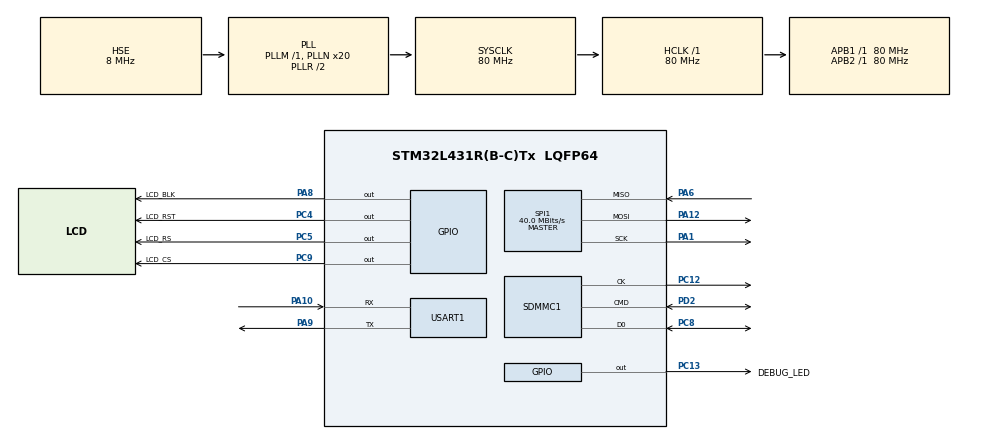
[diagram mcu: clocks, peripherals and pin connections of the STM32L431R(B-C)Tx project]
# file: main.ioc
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Dma.Request0=SPI1_TX
Dma.SPI1_TX.0.Direction=DMA_MEMORY_TO_PERIPH
Dma.SPI1_TX.0.Instance=DMA1_Channel3
Dma.SPI1_TX.0.MemDataAlignment=DMA_MDATAALIGN_BYTE
Dma.SPI1_TX.0.MemInc=DMA_MINC_ENABLE
Dma.SPI1_TX.0.Mode=DMA_CIRCULAR
Dma.SPI1_TX.0.PeriphDataAlignment=DMA_PDATAALIGN_BYTE
Dma.SPI1_TX.0.PeriphInc=DMA_PINC_DISABLE
Dma.SPI1_TX.0.Priority=DMA_PRIORITY_LOW
FATFS._CODE_PAGE=936
FATFS._USE_LFN=2
Mcu.Family=STM32L4
Mcu.Name=STM32L431R(B-C)Tx
Mcu.Package=LQFP64
NVIC.DMA1_Channel3_IRQn=true\:0\:0\:false\:false\:true\:false\:true
NVIC.PriorityGroup=NVIC_PRIORITYGROUP_4
NVIC.SDMMC1_IRQn=true\:0\:0\:false\:false\:true\:true\:true
PA1.Mode=Full_Duplex_Master
PA1.Signal=SPI1_SCK
PA10.Mode=Asynchronous
PA10.Signal=USART1_RX
PA12.Mode=Full_Duplex_Master
PA12.Signal=SPI1_MOSI
PA13\ (JTMS-SWDIO).Mode=Serial_Wire
PA13\ (JTMS-SWDIO).Signal=SYS_JTMS-SWDIO
PA14\ (JTCK-SWCLK).Mode=Serial_Wire
PA14\ (JTCK-SWCLK).Signal=SYS_JTCK-SWCLK
PA6.Mode=Full_Duplex_Master
PA6.Signal=SPI1_MISO
PA8.GPIO_Label=LCD_BLK
PA8.GPIO_Speed=GPIO_SPEED_FREQ_VERY_HIGH
PA8.Signal=GPIO_Output
PA9.Mode=Asynchronous
PA9.Signal=USART1_TX
PC12.Mode=SD_1_bit
PC12.Signal=SDMMC1_CK
PC13.GPIO_Label=DEBUG_LED
PC13.Signal=GPIO_Output
PC4.GPIO_Label=LCD_RST
PC4.GPIO_Speed=GPIO_SPEED_FREQ_VERY_HIGH
PC4.Signal=GPIO_Output
PC5.GPIO_Label=LCD_RS
PC5.GPIO_Speed=GPIO_SPEED_FREQ_VERY_HIGH
PC5.Signal=GPIO_Output
PC8.Mode=SD_1_bit
PC8.Signal=SDMMC1_D0
PC9.GPIO_Label=LCD_CS
PC9.GPIO_Speed=GPIO_SPEED_FREQ_VERY_HIGH
PC9.Signal=GPIO_Output
PD2.Mode=SD_1_bit
PD2.Signal=SDMMC1_CMD
PH0-OSC_IN\ (PH0).Mode=HSE-External-Oscillator
PH0-OSC_IN\ (PH0).Signal=RCC_OSC_IN
PH1-OSC_OUT\ (PH1).Mode=HSE-External-Oscillator
PH1-OSC_OUT\ (PH1).Signal=RCC_OSC_OUT
ProjectManager.HeapSize=0x1000
ProjectManager.StackSize=0x1200
ProjectManager.TargetToolchain=MDK-ARM V5
RCC.ADCFreq_Value=32000000
RCC.AHBFreq_Value=80000000
RCC.APB1Freq_Value=80000000
RCC.APB1TimFreq_Value=80000000
RCC.APB2Freq_Value=80000000
RCC.APB2TimFreq_Value=80000000
RCC.CortexFreq_Value=80000000
RCC.HCLKFreq_Value=80000000
RCC.HSE_VALUE=8000000
RCC.HSI48_VALUE=48000000
RCC.HSI_VALUE=16000000
RCC.LSE_VALUE=32768
RCC.MSI_VALUE=4000000
RCC.PLLN=20
RCC.PLLSourceVirtual=RCC_PLLSOURCE_HSE
RCC.SYSCLKFreq_VALUE=80000000
RCC.SYSCLKSource=RCC_SYSCLKSOURCE_PLLCLK
RCC.VCOOutputFreq_Value=160000000
SDMMC1.ClockDiv=4
SPI1.CalculateBaudRate=40.0 MBits/s
SPI1.DataSize=SPI_DATASIZE_8BIT
SPI1.Direction=SPI_DIRECTION_2LINES
SPI1.Mode=SPI_MODE_MASTER
SPI1.VirtualType=VM_MASTER
USART1.VirtualMode-Asynchronous=VM_ASYNC
VP_FATFS_VS_SDIO.Mode=SDIO
board=custom

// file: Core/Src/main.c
/* USER CODE BEGIN Header */
/**
  ******************************************************************************
  * @file           : main.c
  * @brief          : Main program body
  ******************************************************************************
  * @attention
  *
  * <h2><center>&copy; Copyright (c) 2021 STMicroelectronics.
  * All rights reserved.</center></h2>
  *
  * This software component is licensed by ST under BSD 3-Clause license,
  * the "License"; You may not use this file except in compliance with the
  * License. You may obtain a copy of the License at:
  *                        opensource.org/licenses/BSD-3-Clause
  *
  ******************************************************************************
  */
/* USER CODE END Header */
#include "main.h"
#include "dma.h"
#include "fatfs.h"
#include "sdmmc.h"
#include "spi.h"
#include "usart.h"
#include "gpio.h"

/* USER CODE BEGIN Includes */
#include "lcd_st7735.h"
/* USER CODE END Includes */

void SystemClock_Config(void);

/* USER CODE BEGIN 0 */
/*挂载SD卡*/
int Mount_SD(void)
{
    /*挂载SD卡*/
    retSD = f_mount(&SDFatFS, SDPath, 1);

    if(FR_OK != retSD)
        return -1 ;

    return 0 ;
}

/*一张RGB565图片占用的缓存大小*/
#define PIC_SIZE 32768
/*在LCD的X坐标*/
#define DISPLAY_START_X 0
/*在LCD的Y坐标*/
#define DISPLAY_START_Y 0
/*LCD宽度分辨率*/
#define OLED_WIDTH   128
/*LCD高度分辨率*/
#define OLED_HEIGHT  128
/*用于显示的缓存区*/
uint8_t framebuffer[PIC_SIZE] = {1};
int sd_show_picture_bin(const char *path)
{
    UINT br;
    FIL fil ;
    int offset = 0 ;
    int file_size ;
    FRESULT res ;
    /*1.打开传进来的Fatfs文件路径: path*/
    res = f_open(&fil, path, FA_READ);

    if(FR_OK != res)
        return -1;

    /*2.计算这个文件的大小*/
    file_size = f_size(&fil);
    /*3.初始化偏移变量为0*/
    offset = 0 ;

    /*4.计算bin文件里一共包含多少张图片，然后不断的给LCD进行显示*/
    for(int i = 0 ; i < file_size / PIC_SIZE ; i++)
    {
        /*5.读取一张图片,一张图片的大小是PIC_SIZE，
        		将读取出来的图片存放到缓存区framebuffer数组里*/
        res = f_read(&fil, framebuffer, PIC_SIZE, &br);

        if(FR_OK != res)
            return -2;

        /*6.将整个数组赋值给显示接口，显示图片*/
        ST7735_DrawImage(DISPLAY_START_X, DISPLAY_START_Y, OLED_WIDTH, OLED_HEIGHT, (uint16_t *)framebuffer);
        /*7.将偏移往后加PIC_SIZE，就到了下一张图片*/
        offset += PIC_SIZE;
        res = f_lseek(&fil, offset);

        if(FR_OK != res)
            return -3;
    }

    /*8.关闭文件描述符*/
    res = f_close(&fil);

    if(FR_OK != res)
        return -4;

    return 0 ;
}
/* USER CODE END 0 */

int main(void)
{
    /* USER CODE BEGIN 1 */
    int ret = -1 ;
    /* USER CODE END 1 */

    /* MCU Configuration--------------------------------------------------------*/

    /* Reset of all peripherals, Initializes the Flash interface and the Systick. */
    HAL_Init();

    /* Configure the system clock */
    SystemClock_Config();

    /* Initialize all configured peripherals */
    MX_GPIO_Init();
    MX_DMA_Init();
    MX_SPI1_Init();
    MX_USART1_UART_Init();
    MX_SDMMC1_SD_Init();
    MX_FATFS_Init();
    /* USER CODE BEGIN 2 */
    printf("**********Init LCD**********\r\n");
    LCD_SCAN_DIR Lcd_ScanDir = SCAN_DIR_DFT;//SCAN_DIR_DFT = D2U_L2R
    LCD_Init( Lcd_ScanDir );
    printf("LCD Show \r\n");
    /*挂载SD卡*/
    ret = Mount_SD();

    if(ret != 0)
    {
        printf("SD Card mount ERROR\r\n");
        return -1 ;
    }

    printf("SD卡挂载成功!\n");
    LCD_BLK(1);
    /* USER CODE END 2 */

    /* Infinite loop */
    while (1)
    {

        /* USER CODE BEGIN 3 */
        sd_show_picture_bin("0:/boy.bin");
    }

    /* USER CODE END 3 */
}

void SystemClock_Config(void)
{
    RCC_OscInitTypeDef RCC_OscInitStruct = {0};
    RCC_ClkInitTypeDef RCC_ClkInitStruct = {0};
    RCC_PeriphCLKInitTypeDef PeriphClkInit = {0};

    /** Initializes the RCC Oscillators according to the specified parameters
    * in the RCC_OscInitTypeDef structure.
    */
    RCC_OscInitStruct.OscillatorType = RCC_OSCILLATORTYPE_HSE;
    RCC_OscInitStruct.HSEState = RCC_HSE_ON;
    RCC_OscInitStruct.PLL.PLLState = RCC_PLL_ON;
    RCC_OscInitStruct.PLL.PLLSource = RCC_PLLSOURCE_HSE;
    RCC_OscInitStruct.PLL.PLLM = 1;
    RCC_OscInitStruct.PLL.PLLN = 20;
    RCC_OscInitStruct.PLL.PLLP = RCC_PLLP_DIV7;
    RCC_OscInitStruct.PLL.PLLQ = RCC_PLLQ_DIV2;
    RCC_OscInitStruct.PLL.PLLR = RCC_PLLR_DIV2;

    if (HAL_RCC_OscConfig(&RCC_OscInitStruct) != HAL_OK)
    {
        Error_Handler();
    }

    /** Initializes the CPU, AHB and APB buses clocks
    */
    RCC_ClkInitStruct.ClockType = RCC_CLOCKTYPE_HCLK | RCC_CLOCKTYPE_SYSCLK
                                  | RCC_CLOCKTYPE_PCLK1 | RCC_CLOCKTYPE_PCLK2;
    RCC_ClkInitStruct.SYSCLKSource = RCC_SYSCLKSOURCE_PLLCLK;
    RCC_ClkInitStruct.AHBCLKDivider = RCC_SYSCLK_DIV1;
    RCC_ClkInitStruct.APB1CLKDivider = RCC_HCLK_DIV1;
    RCC_ClkInitStruct.APB2CLKDivider = RCC_HCLK_DIV1;

    if (HAL_RCC_ClockConfig(&RCC_ClkInitStruct, FLASH_LATENCY_4) != HAL_OK)
    {
        Error_Handler();
    }

    PeriphClkInit.PeriphClockSelection = RCC_PERIPHCLK_USART1 | RCC_PERIPHCLK_SDMMC1;
    PeriphClkInit.Usart1ClockSelection = RCC_USART1CLKSOURCE_PCLK2;
    PeriphClkInit.Sdmmc1ClockSelection = RCC_SDMMC1CLKSOURCE_PLLSAI1;
    PeriphClkInit.PLLSAI1.PLLSAI1Source = RCC_PLLSOURCE_HSE;
    PeriphClkInit.PLLSAI1.PLLSAI1M = 1;
    PeriphClkInit.PLLSAI1.PLLSAI1N = 8;
    PeriphClkInit.PLLSAI1.PLLSAI1P = RCC_PLLP_DIV7;
    PeriphClkInit.PLLSAI1.PLLSAI1Q = RCC_PLLQ_DIV2;
    PeriphClkInit.PLLSAI1.PLLSAI1R = RCC_PLLR_DIV2;
    PeriphClkInit.PLLSAI1.PLLSAI1ClockOut = RCC_PLLSAI1_48M2CLK;

    if (HAL_RCCEx_PeriphCLKConfig(&PeriphClkInit) != HAL_OK)
    {
        Error_Handler();
    }

    /** Configure the main internal regulator output voltage
    */
    if (HAL_PWREx_ControlVoltageScaling(PWR_REGULATOR_VOLTAGE_SCALE1) != HAL_OK)
    {
        Error_Handler();
    }
}

void Error_Handler(void)
{
}

/************************ (C) COPYRIGHT STMicroelectronics *****END OF FILE****/
